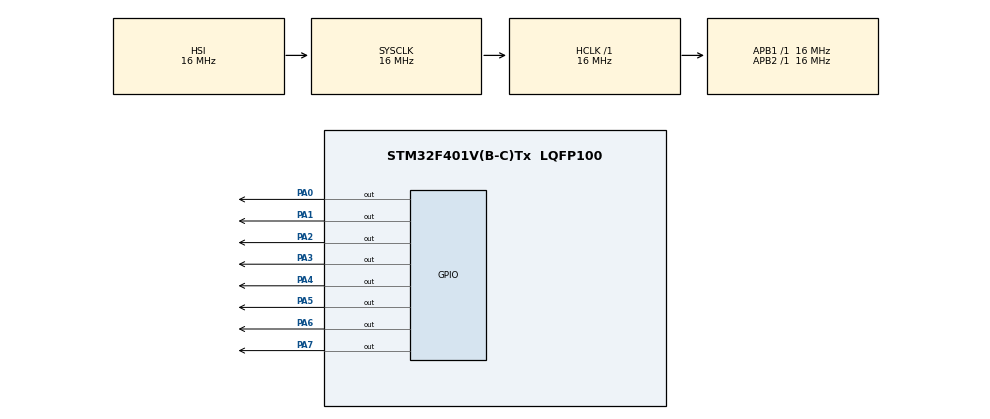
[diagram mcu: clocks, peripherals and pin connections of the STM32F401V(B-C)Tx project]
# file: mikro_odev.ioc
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Mcu.Family=STM32F4
Mcu.Name=STM32F401V(B-C)Tx
Mcu.Package=LQFP100
NVIC.PriorityGroup=NVIC_PRIORITYGROUP_4
PA0-WKUP.Signal=GPIO_Output
PA1.Signal=GPIO_Output
PA2.Signal=GPIO_Output
PA3.Signal=GPIO_Output
PA4.Signal=GPIO_Output
PA5.Signal=GPIO_Output
PA6.Signal=GPIO_Output
PA7.Signal=GPIO_Output
PH0\ -\ OSC_IN.Mode=HSE-External-Oscillator
PH0\ -\ OSC_IN.Signal=RCC_OSC_IN
PH1\ -\ OSC_OUT.Mode=HSE-External-Oscillator
PH1\ -\ OSC_OUT.Signal=RCC_OSC_OUT
ProjectManager.HeapSize=0x200
ProjectManager.StackSize=0x400
ProjectManager.TargetToolchain=STM32CubeIDE
RCC.AHBFreq_Value=16000000
RCC.APB1Freq_Value=16000000
RCC.APB2Freq_Value=16000000
RCC.CortexFreq_Value=16000000
RCC.HSE_VALUE=8000000
RCC.HSI_VALUE=16000000
RCC.LSE_VALUE=32768
RCC.SYSCLKFreq_VALUE=16000000
RCC.VCOOutputFreq_Value=192000000
board=custom

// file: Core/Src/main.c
/* USER CODE BEGIN Header */
/**
  ******************************************************************************
  * @file           : main.c
  * @brief          : Main program body
  ******************************************************************************
  * @attention
  *
  * Copyright (c) 2022 STMicroelectronics.
  * All rights reserved.
  *
  * This software is licensed under terms that can be found in the LICENSE file
  * in the root directory of this software component.
  * If no LICENSE file comes with this software, it is provided AS-IS.
  *
  ******************************************************************************
  */
/* USER CODE END Header */
#include "main.h"

/* USER CODE BEGIN PV */
typedef struct {
	   GPIO_TypeDef* gpio;
	   uint16_t pin;
	  } my_pin_t;
	  const my_pin_t
	  pin_door[] = {
	   { GPIOA,GPIO_PIN_7 },
	   { GPIOA,GPIO_PIN_6 },
	   { GPIOA,GPIO_PIN_5 },
	   { GPIOA,GPIO_PIN_4 },
	   { GPIOA,GPIO_PIN_3 },
	   { GPIOA,GPIO_PIN_2 },
	   { GPIOA,GPIO_PIN_1 },
	   { GPIOA,GPIO_PIN_0 },
	  };

/* USER CODE END PV */

void SystemClock_Config(void);
static void MX_GPIO_Init(void);

int main(void)
{

  /* MCU Configuration--------------------------------------------------------*/

  /* Reset of all peripherals, Initializes the Flash interface and the Systick. */
  HAL_Init();

  /* Configure the system clock */
  SystemClock_Config();

  /* Initialize all configured peripherals */
  MX_GPIO_Init();

  /* Infinite loop */
  /* USER CODE BEGIN WHILE */
  while (1)
  {

	  	  for(int counter = 1;counter<256;counter++){

	  		HAL_Delay(500);
	  		int temp,list[10],i=1;
	  		temp = counter;

	  			  			  while(temp != 0){
	  			  			        list[i]= temp % 2;
	  			  			        temp = temp / 2;
	  			  			        i++;
	  			  			  }

	  			  			for(int a=0;a<8;a++){
	  			  				if(list[a+1]==1)
	  			  				HAL_GPIO_WritePin(pin_door[a].gpio, pin_door[a].pin, 1);
	  			  				else
	  			  				HAL_GPIO_WritePin(pin_door[a].gpio, pin_door[a].pin, 0);
	  			  			}

	  	  }

    /* USER CODE END WHILE */

  }
}

void SystemClock_Config(void)
{
  RCC_OscInitTypeDef RCC_OscInitStruct = {0};
  RCC_ClkInitTypeDef RCC_ClkInitStruct = {0};

  /** Configure the main internal regulator output voltage
  */
  __HAL_RCC_PWR_CLK_ENABLE();
  __HAL_PWR_VOLTAGESCALING_CONFIG(PWR_REGULATOR_VOLTAGE_SCALE2);

  /** Initializes the RCC Oscillators according to the specified parameters
  * in the RCC_OscInitTypeDef structure.
  */
  RCC_OscInitStruct.OscillatorType = RCC_OSCILLATORTYPE_HSI;
  RCC_OscInitStruct.HSIState = RCC_HSI_ON;
  RCC_OscInitStruct.HSICalibrationValue = RCC_HSICALIBRATION_DEFAULT;
  RCC_OscInitStruct.PLL.PLLState = RCC_PLL_NONE;
  if (HAL_RCC_OscConfig(&RCC_OscInitStruct) != HAL_OK)
  {
    Error_Handler();
  }

  /** Initializes the CPU, AHB and APB buses clocks
  */
  RCC_ClkInitStruct.ClockType = RCC_CLOCKTYPE_HCLK|RCC_CLOCKTYPE_SYSCLK
                              |RCC_CLOCKTYPE_PCLK1|RCC_CLOCKTYPE_PCLK2;
  RCC_ClkInitStruct.SYSCLKSource = RCC_SYSCLKSOURCE_HSI;
  RCC_ClkInitStruct.AHBCLKDivider = RCC_SYSCLK_DIV1;
  RCC_ClkInitStruct.APB1CLKDivider = RCC_HCLK_DIV1;
  RCC_ClkInitStruct.APB2CLKDivider = RCC_HCLK_DIV1;

  if (HAL_RCC_ClockConfig(&RCC_ClkInitStruct, FLASH_LATENCY_0) != HAL_OK)
  {
    Error_Handler();
  }
}

static void MX_GPIO_Init(void)
{
  GPIO_InitTypeDef GPIO_InitStruct = {0};

  /* GPIO Ports Clock Enable */
  __HAL_RCC_GPIOH_CLK_ENABLE();
  __HAL_RCC_GPIOA_CLK_ENABLE();

  /*Configure GPIO pin Output Level */
  HAL_GPIO_WritePin(GPIOA, GPIO_PIN_0|GPIO_PIN_1|GPIO_PIN_2|GPIO_PIN_3
                          |GPIO_PIN_4|GPIO_PIN_5|GPIO_PIN_6|GPIO_PIN_7, GPIO_PIN_RESET);

  /*Configure GPIO pins : PA0 PA1 PA2 PA3
                           PA4 PA5 PA6 PA7 */
  GPIO_InitStruct.Pin = GPIO_PIN_0|GPIO_PIN_1|GPIO_PIN_2|GPIO_PIN_3
                          |GPIO_PIN_4|GPIO_PIN_5|GPIO_PIN_6|GPIO_PIN_7;
  GPIO_InitStruct.Mode = GPIO_MODE_OUTPUT_PP;
  GPIO_InitStruct.Pull = GPIO_NOPULL;
  GPIO_InitStruct.Speed = GPIO_SPEED_FREQ_LOW;
  HAL_GPIO_Init(GPIOA, &GPIO_InitStruct);

}

void Error_Handler(void)
{
  __disable_irq();
  while (1)
  {
  }
}
